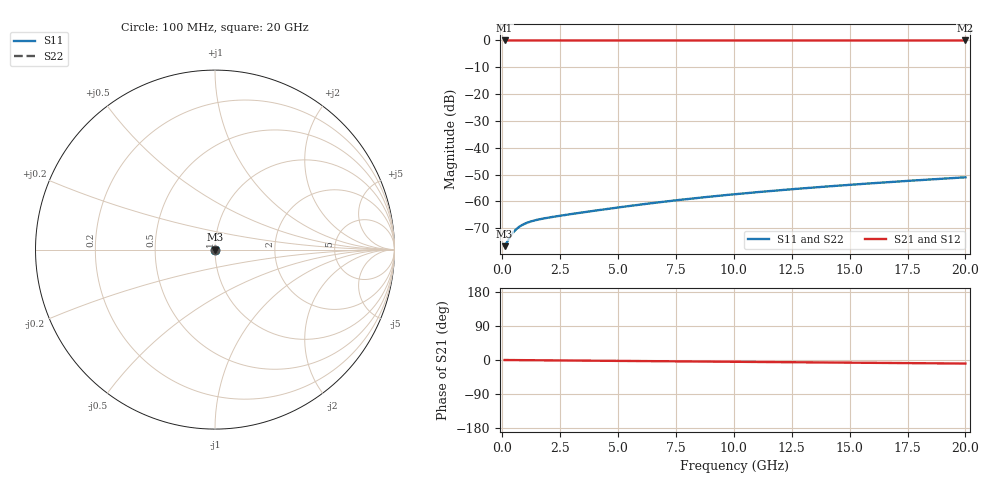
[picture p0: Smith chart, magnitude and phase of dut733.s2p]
! Touchstone file exported from HFSS 2026.1.0
!  File:  C:/ffzhzh/LocalFiles/Ansys_Project_Files/temp_train_TSV_733_1783182594_22436.aedt
!  Generated:  12:31:37 AM Jul  5, 2026
!  Design:  TSV
!  Project:  temp_train_TSV_733_1783182594_22436
! Variables:
!  h_bsmrdl = 2um
!  h_ox = 20um
!  h_rdl = 5um
!  h_sub = 96.94um
!  h_tmrdl = 5um
!  h_tsv = 96.94um
!  h_via = 3um
!  l_bsmrdl = 300um
!  l_sub = 420.82um
!  l_tmrdl = 200um
!  m_sub = 200um
!  pitch = 41.64um
!  r_tsv = 10.41um
!  s_tmrdl = 10um
!  w_bsmrdl = 18um
!  w_sub = 500um
!  w_tmrdl = 12um
!  x_tsv_center1 = 206um
!  x_tsv_center2 = 524um
!  x_tsv_center3 = 736um
!  x_tsv_center4 = 1054um
!  x_tsv_center5 = 1266um
!  x_tsv_center6 = 1584um
# GHz S MA R 50.000000
! Terminal data exported
! Port[1] = TSV1_1_T1
! Port[2] = TSV1_1_T2
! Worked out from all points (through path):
!   200 points, 100 MHz to 20 GHz, reference 50 ohm
!   highest |S21| = 0.00 dB at 100 MHz (marker M1); lowest = 0.0 dB at 20 GHz (marker M2)
!   group delay of S21, straight-line fit = 1.3 ps
!   lowest |S11| = -76.7 dB at 100 MHz (marker M3), VSWR 1.00, Z = 50 + j0.00391 ohm
!   |S11| at or under -10 dB: start of sweep to end of sweep
!   |S22| runs from -76.7 to -51.0 dB; largest |S21 - S12| = 2.3e-15
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0.1  0.0001457 15.6  0.9999 -0.0  0.9999 -0.0  0.0001457 15.6
! Gamma 0 0 0 0
! Port Impedance 50 0 50 0
0.2  0.0001718 25.9  0.9998 -0.1  0.9998 -0.1  0.0001718 25.9
0.3  0.000205 30.9  0.9998 -0.1  0.9998 -0.1  0.000205 30.9
0.4  0.0002393 32.5  0.9998 -0.2  0.9998 -0.2  0.0002393 32.5
0.5  0.0002718 32.2  0.9998 -0.2  0.9998 -0.2  0.0002718 32.2
0.6  0.0003012 30.9  0.9997 -0.3  0.9997 -0.3  0.0003012 30.9
0.7  0.0003272 29.2  0.9997 -0.3  0.9997 -0.3  0.0003272 29.2
0.8  0.00035 27.2  0.9997 -0.4  0.9997 -0.4  0.00035 27.2
1  0.0003874 23.3  0.9996 -0.5  0.9996 -0.5  0.0003874 23.3
1.3  0.0004293 18.0  0.9996 -0.6  0.9996 -0.6  0.0004292 18.0
1.5  0.0004514 14.9  0.9996 -0.7  0.9996 -0.7  0.0004514 14.9
1.8  0.0004799 10.8  0.9995 -0.9  0.9995 -0.9  0.0004799 10.8
2.4  0.0005304 4.1  0.9995 -1.1  0.9995 -1.1  0.0005304 4.1
3.5  0.0006236 -5.8  0.9994 -1.7  0.9994 -1.7  0.0006235 -5.8
5.2  0.000788 -18.4  0.9992 -2.5  0.9992 -2.5  0.0007879 -18.4
6.8  0.0009628 -28.2  0.9991 -3.2  0.9991 -3.2  0.0009626 -28.2
8.4  0.001151 -36.4  0.999 -4.0  0.999 -4.0  0.001151 -36.4
10.1  0.001363 -43.5  0.9989 -4.7  0.9989 -4.7  0.001363 -43.5
11.7  0.001572 -49.0  0.9989 -5.5  0.9989 -5.5  0.001572 -49.1
13.4  0.001803 -53.9  0.9988 -6.3  0.9988 -6.3  0.001803 -54.0
16.7  0.002281 -61.4  0.9986 -7.8  0.9986 -7.8  0.002281 -61.4
20  0.002804 -67.0  0.9985 -9.4  0.9985 -9.4  0.002803 -67.0
